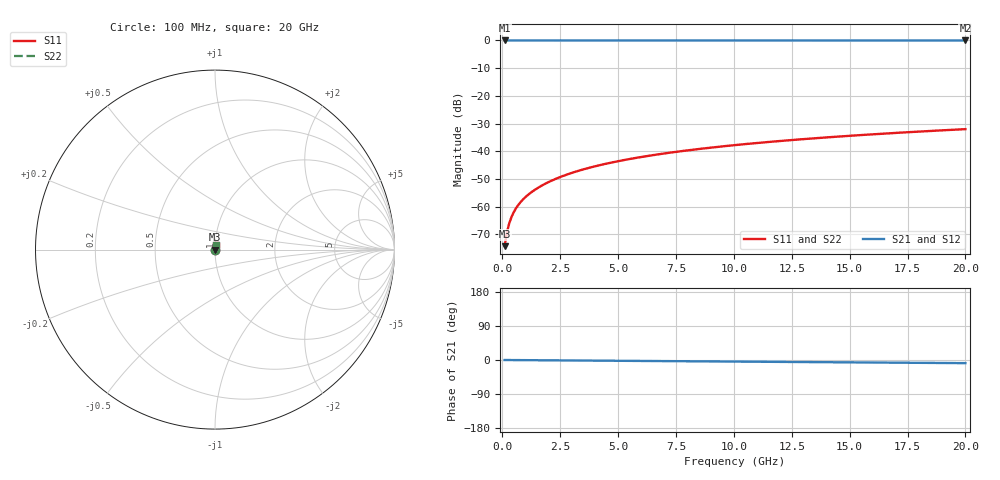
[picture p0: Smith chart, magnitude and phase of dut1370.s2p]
! Touchstone file exported from HFSS 2026.1.0
!  File:  C:/ffzhzh/LocalFiles/Ansys_Project_Files/temp_train_TSV_1370_1783196201_18472.aedt
!  Generated:  04:18:16 AM Jul  5, 2026
!  Design:  TSV
!  Project:  temp_train_TSV_1370_1783196201_18472
! Variables:
!  h_bsmrdl = 2um
!  h_ox = 20um
!  h_rdl = 5um
!  h_sub = 78.26um
!  h_tmrdl = 5um
!  h_tsv = 78.26um
!  h_via = 3um
!  l_bsmrdl = 300um
!  l_sub = 422.66um
!  l_tmrdl = 200um
!  m_sub = 200um
!  pitch = 55.32um
!  r_tsv = 11.33um
!  s_tmrdl = 10um
!  w_bsmrdl = 18um
!  w_sub = 500um
!  w_tmrdl = 12um
!  x_tsv_center1 = 206um
!  x_tsv_center2 = 524um
!  x_tsv_center3 = 736um
!  x_tsv_center4 = 1054um
!  x_tsv_center5 = 1266um
!  x_tsv_center6 = 1584um
# GHz S MA R 50.000000
! Terminal data exported
! Port[1] = TSV1_1_T1
! Port[2] = TSV1_1_T2
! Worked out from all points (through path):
!   200 points, 100 MHz to 20 GHz, reference 50 ohm
!   highest |S21| = 0.00 dB at 100 MHz (marker M1); lowest = 0.0 dB at 20 GHz (marker M2)
!   group delay of S21, straight-line fit = 1.15 ps
!   lowest |S11| = -74.2 dB at 100 MHz (marker M3), VSWR 1.00, Z = 50 + j0.0165 ohm
!   |S11| at or under -10 dB: start of sweep to end of sweep
!   |S22| runs from -74.2 to -32.0 dB; largest |S21 - S12| = 3.9e-15
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0.1  0.0001942 58.4  0.9999 -0.0  0.9999 -0.0  0.0001942 58.4
! Gamma 0 0 0 0
! Port Impedance 50 0 50 0
0.2  0.000347 70.9  0.9999 -0.1  0.9999 -0.1  0.000347 70.9
0.3  0.0005034 75.0  0.9999 -0.1  0.9999 -0.1  0.0005034 75.0
0.4  0.0006564 76.7  0.9999 -0.2  0.9999 -0.2  0.0006564 76.7
0.5  0.0008049 77.5  0.9998 -0.2  0.9998 -0.2  0.0008049 77.5
0.6  0.0009487 78.0  0.9998 -0.3  0.9998 -0.3  0.0009487 78.0
0.7  0.001089 78.4  0.9998 -0.3  0.9998 -0.3  0.001089 78.4
0.9  0.00136 79.0  0.9997 -0.4  0.9997 -0.4  0.00136 79.0
1.1  0.001623 79.6  0.9997 -0.5  0.9997 -0.5  0.001623 79.6
1.3  0.001883 80.2  0.9997 -0.6  0.9997 -0.6  0.001883 80.2
1.6  0.002271 80.9  0.9997 -0.7  0.9997 -0.7  0.002271 80.9
1.9  0.002658 81.4  0.9996 -0.8  0.9996 -0.8  0.002658 81.4
2.6  0.00356 82.3  0.9996 -1.1  0.9996 -1.1  0.00356 82.3
3.5  0.004717 82.9  0.9995 -1.5  0.9995 -1.5  0.004717 82.9
4.2  0.005612 83.0  0.9995 -1.8  0.9995 -1.8  0.005612 83.0
5  0.006628 83.1  0.9994 -2.1  0.9994 -2.1  0.006628 83.1
6.8  0.008894 82.9  0.9993 -2.8  0.9993 -2.8  0.008894 82.9
8.3  0.01077 82.7  0.9992 -3.5  0.9992 -3.5  0.01077 82.7
10.1  0.013 82.3  0.9991 -4.2  0.9991 -4.2  0.013 82.3
13.4  0.01707 81.4  0.9989 -5.6  0.9989 -5.6  0.01707 81.4
16.7  0.02111 80.3  0.9988 -6.9  0.9988 -6.9  0.02111 80.3
20  0.02511 79.1  0.9986 -8.3  0.9986 -8.3  0.02511 79.1
